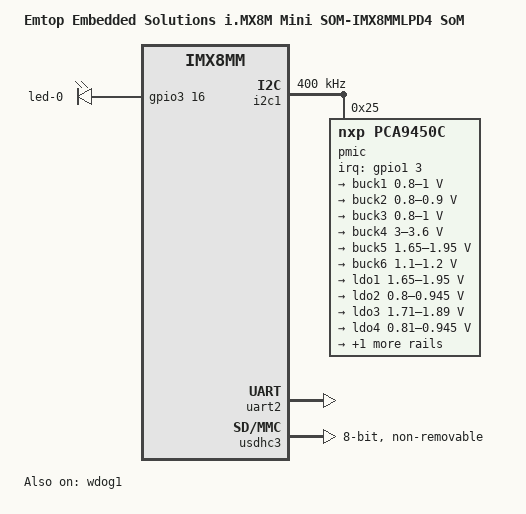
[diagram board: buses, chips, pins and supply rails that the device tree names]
// SPDX-License-Identifier: (GPL-2.0+ OR MIT)
/*
 * Copyright 2023 Emtop Embedded Solutions
 */

/dts-v1/;

#include <dt-bindings/gpio/gpio.h>
#include <dt-bindings/leds/common.h>
#include <dt-bindings/usb/pd.h>

#include "imx8mm.dtsi"

/ {
	model = "Emtop Embedded Solutions i.MX8M Mini SOM-IMX8MMLPD4 SoM";
	compatible = "ees,imx8mm-emtop-som", "fsl,imx8mm";

	chosen {
		stdout-path = &uart2;
	};

	leds {
		compatible = "gpio-leds";
		pinctrl-names = "default";
		pinctrl-0 = <&pinctrl_gpio_led>;

		led-0 {
			function = LED_FUNCTION_POWER;
			gpios = <&gpio3 16 GPIO_ACTIVE_HIGH>;
			linux,default-trigger = "heartbeat";
		};
	};
};

&A53_0 {
	cpu-supply = <&buck2>;
};

&A53_1 {
	cpu-supply = <&buck2>;
};

&A53_2 {
	cpu-supply = <&buck2>;
};

&A53_3 {
	cpu-supply = <&buck2>;
};

&i2c1 {
	clock-frequency = <400000>;
	pinctrl-names = "default";
	pinctrl-0 = <&pinctrl_i2c1>;
	status = "okay";

	pmic@25 {
		compatible = "nxp,pca9450c";
		reg = <0x25>;
		pinctrl-names = "default";
		pinctrl-0 = <&pinctrl_pmic>;
		interrupt-parent = <&gpio1>;
		interrupts = <3 IRQ_TYPE_EDGE_RISING>;

		regulators {
			buck1: BUCK1 {
				regulator-name = "BUCK1";
				regulator-min-microvolt = <800000>;
				regulator-max-microvolt = <1000000>;
				regulator-boot-on;
				regulator-always-on;
				regulator-ramp-delay = <3125>;
			};

			buck2: BUCK2 {
				regulator-name = "BUCK2";
				regulator-min-microvolt = <800000>;
				regulator-max-microvolt = <900000>;
				regulator-boot-on;
				regulator-always-on;
				regulator-ramp-delay = <3125>;
			};

			buck3: BUCK3 {
				regulator-name = "BUCK3";
				regulator-min-microvolt = <800000>;
				regulator-max-microvolt = <1000000>;
				regulator-boot-on;
				regulator-always-on;
			};

			buck4: BUCK4 {
				regulator-name = "BUCK4";
				regulator-min-microvolt = <3000000>;
				regulator-max-microvolt = <3600000>;
				regulator-boot-on;
				regulator-always-on;
			};

			buck5: BUCK5 {
				regulator-name = "BUCK5";
				regulator-min-microvolt = <1650000>;
				regulator-max-microvolt = <1950000>;
				regulator-boot-on;
				regulator-always-on;
			};

			buck6: BUCK6 {
				regulator-name = "BUCK6";
				regulator-min-microvolt = <1100000>;
				regulator-max-microvolt = <1200000>;
				regulator-boot-on;
				regulator-always-on;
			};

			ldo1: LDO1 {
				regulator-name = "LDO1";
				regulator-min-microvolt = <1650000>;
				regulator-max-microvolt = <1950000>;
				regulator-boot-on;
				regulator-always-on;
			};

			ldo2: LDO2 {
				regulator-name = "LDO2";
				regulator-min-microvolt = <800000>;
				regulator-max-microvolt = <945000>;
				regulator-boot-on;
				regulator-always-on;
			};

			ldo3: LDO3 {
				regulator-name = "LDO3";
				regulator-min-microvolt = <1710000>;
				regulator-max-microvolt = <1890000>;
				regulator-boot-on;
				regulator-always-on;
			};

			ldo4: LDO4 {
				regulator-name = "LDO4";
				regulator-min-microvolt = <810000>;
				regulator-max-microvolt = <945000>;
				regulator-boot-on;
				regulator-always-on;
			};

			ldo5: LDO5 {
				regulator-name = "LDO5";
				regulator-min-microvolt = <1650000>;
				regulator-max-microvolt = <3600000>;
			};
		};
	};
};

&uart2 {
	pinctrl-names = "default";
	pinctrl-0 = <&pinctrl_uart2>;
	status = "okay";
};

&usdhc3 {
	pinctrl-names = "default", "state_100mhz", "state_200mhz";
	pinctrl-0 = <&pinctrl_usdhc3>;
	pinctrl-1 = <&pinctrl_usdhc3_100mhz>;
	pinctrl-2 = <&pinctrl_usdhc3_200mhz>;
	bus-width = <8>;
	non-removable;
	status = "okay";
};

&wdog1 {
	pinctrl-names = "default";
	pinctrl-0 = <&pinctrl_wdog>;
	fsl,ext-reset-output;
	status = "okay";
};

&iomuxc {
	pinctrl_gpio_led: emtop-gpio-led-grp {
		fsl,pins = <
			MX8MM_IOMUXC_NAND_READY_B_GPIO3_IO16			0x19
			MX8MM_IOMUXC_SAI3_RXC_GPIO4_IO29			0x19
		>;
	};

	pinctrl_i2c1: emtop-i2c1-grp {
		fsl,pins = <
			MX8MM_IOMUXC_I2C1_SCL_I2C1_SCL				0x400001c3
			MX8MM_IOMUXC_I2C1_SDA_I2C1_SDA				0x400001c3
		>;
	};

	pinctrl_pmic: emtop-pmic-grp {
		fsl,pins = <
			MX8MM_IOMUXC_GPIO1_IO03_GPIO1_IO3			0x41
		>;
	};

	pinctrl_uart2: emtop-uart2-grp {
		fsl,pins = <
			MX8MM_IOMUXC_UART2_RXD_UART2_DCE_RX			0x140
			MX8MM_IOMUXC_UART2_TXD_UART2_DCE_TX			0x140
		>;
	};

	pinctrl_usdhc3: emtop-usdhc3-grp {
		fsl,pins = <
			MX8MM_IOMUXC_NAND_WE_B_USDHC3_CLK			0x190
			MX8MM_IOMUXC_NAND_WP_B_USDHC3_CMD			0x1d0
			MX8MM_IOMUXC_NAND_DATA04_USDHC3_DATA0			0x1d0
			MX8MM_IOMUXC_NAND_DATA05_USDHC3_DATA1			0x1d0
			MX8MM_IOMUXC_NAND_DATA06_USDHC3_DATA2			0x1d0
			MX8MM_IOMUXC_NAND_DATA07_USDHC3_DATA3			0x1d0
			MX8MM_IOMUXC_NAND_RE_B_USDHC3_DATA4			0x1d0
			MX8MM_IOMUXC_NAND_CE2_B_USDHC3_DATA5			0x1d0
			MX8MM_IOMUXC_NAND_CE3_B_USDHC3_DATA6			0x1d0
			MX8MM_IOMUXC_NAND_CLE_USDHC3_DATA7			0x1d0
			MX8MM_IOMUXC_NAND_CE1_B_USDHC3_STROBE			0x190
		>;
	};

	pinctrl_usdhc3_100mhz: emtop-usdhc3-100mhz-grp {
		fsl,pins = <
			MX8MM_IOMUXC_NAND_WE_B_USDHC3_CLK			0x194
			MX8MM_IOMUXC_NAND_WP_B_USDHC3_CMD			0x1d4
			MX8MM_IOMUXC_NAND_DATA04_USDHC3_DATA0			0x1d4
			MX8MM_IOMUXC_NAND_DATA05_USDHC3_DATA1			0x1d4
			MX8MM_IOMUXC_NAND_DATA06_USDHC3_DATA2			0x1d4
			MX8MM_IOMUXC_NAND_DATA07_USDHC3_DATA3			0x1d4
			MX8MM_IOMUXC_NAND_RE_B_USDHC3_DATA4			0x1d4
			MX8MM_IOMUXC_NAND_CE2_B_USDHC3_DATA5			0x1d4
			MX8MM_IOMUXC_NAND_CE3_B_USDHC3_DATA6			0x1d4
			MX8MM_IOMUXC_NAND_CLE_USDHC3_DATA7			0x1d4
			MX8MM_IOMUXC_NAND_CE1_B_USDHC3_STROBE			0x194
		>;
	};

	pinctrl_usdhc3_200mhz: emtop-usdhc3-200mhz-grp {
		fsl,pins = <
			MX8MM_IOMUXC_NAND_WE_B_USDHC3_CLK			0x196
			MX8MM_IOMUXC_NAND_WP_B_USDHC3_CMD			0x1d6
			MX8MM_IOMUXC_NAND_DATA04_USDHC3_DATA0			0x1d6
			MX8MM_IOMUXC_NAND_DATA05_USDHC3_DATA1			0x1d6
			MX8MM_IOMUXC_NAND_DATA06_USDHC3_DATA2			0x1d6
			MX8MM_IOMUXC_NAND_DATA07_USDHC3_DATA3			0x1d6
			MX8MM_IOMUXC_NAND_RE_B_USDHC3_DATA4			0x1d6
			MX8MM_IOMUXC_NAND_CE2_B_USDHC3_DATA5			0x1d6
			MX8MM_IOMUXC_NAND_CE3_B_USDHC3_DATA6			0x1d6
			MX8MM_IOMUXC_NAND_CLE_USDHC3_DATA7			0x1d6
			MX8MM_IOMUXC_NAND_CE1_B_USDHC3_STROBE			0x196
		>;
	};

	pinctrl_wdog: emtop-wdog-grp {
		fsl,pins = <
			MX8MM_IOMUXC_GPIO1_IO02_WDOG1_WDOG_B			0xc6
		>;
	};
};
